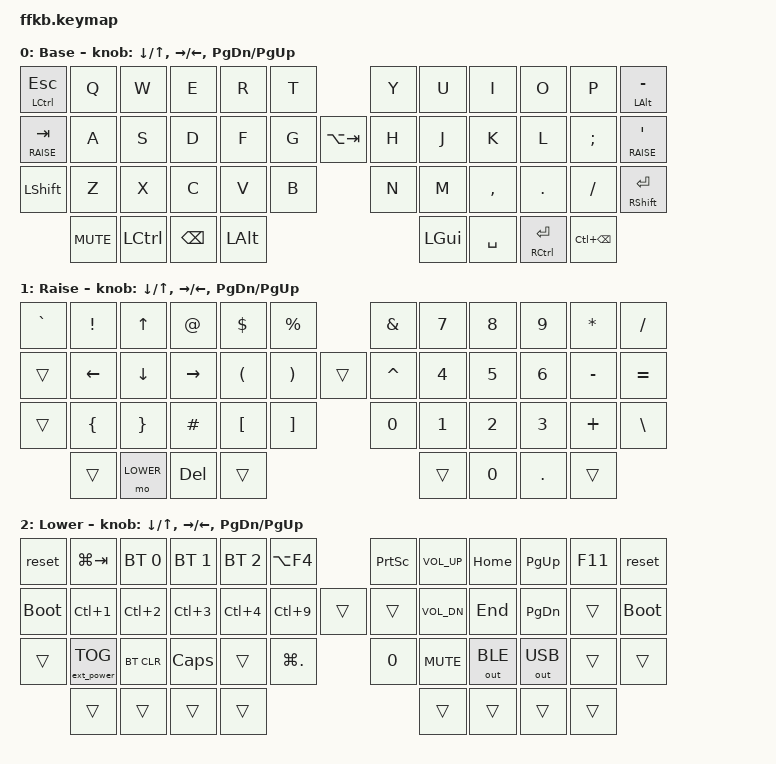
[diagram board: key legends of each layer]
#include <behaviors.dtsi>
#include <dt-bindings/zmk/keys.h>
#include <dt-bindings/zmk/rgb.h>
#include <dt-bindings/zmk/bt.h>
#include <dt-bindings/zmk/ext_power.h>
#include <dt-bindings/zmk/outputs.h>

#define BASE    0
#define RAISE   1
#define LOWER   2

&mt {
    retro-tap;
    flavor = "tap-preferred";
};
&lt {
    retro-tap;
    flavor = "tap-preferred";
};

&encoder_3 {
    resolution = <3>;
};


/ {

    sensors {
        compatible = "zmk,keymap-sensors";
        sensors = <&encoder_1 &encoder_2 &encoder_3>;
    };

    behaviors {
        mthp: hold_preferred_tap {
                        compatible = "zmk,behavior-hold-tap";
                        label = "HOLD_PREFERRED_TAP";            
                        #binding-cells = <2>;
                        tapping-term-ms = <200>;                  
                        flavor = "hold-preferred";      
                        bindings = <&kp>, <&kp>;
        };
    };

    keymap {
        compatible = "zmk,keymap";

        base_layer {
            label = "Base";

            sensor-bindings = <&inc_dec_kp DOWN UP &inc_dec_kp RIGHT LEFT &inc_dec_kp PG_DN PG_UP>;

            bindings = <
	&mt LCTRL ESC   &kp Q &kp W &kp E &kp R &kp T                                                 &kp Y &kp U  &kp I     &kp O   &kp P    &mt LALT MINUS
	&lt RAISE TAB  	&kp A &kp S &kp D &kp F &kp G                       &kp LA(TAB)               &kp H &kp J  &kp K     &kp L   &kp SEMI &lt RAISE SQT
	&kp LSHFT 		&kp Z &kp X &kp C &kp V &kp B                                                 &kp N &kp M  &kp COMMA &kp DOT &kp FSLH &mthp RSHFT ENTER
                    &kp C_MUTE  &kp LCTRL   &kp BSPC  &kp LALT                        &kp LGUI   &kp SPACE &mt RCTRL ENTER     &kp LC(BSPC)
            >;
        };

        raise_layer {
            label = "Raise";
            
            sensor-bindings = <&inc_dec_kp DOWN UP &inc_dec_kp RIGHT LEFT &inc_dec_kp PG_DN PG_UP>;
            
            bindings = <
	&kp GRAVE  &kp EXCL &kp UP   &kp AT    &kp DLLR &kp PRCNT                                                &kp AMPS  &kp N7 &kp N8    &kp N9   &kp STAR &kp FSLH
	&trans     &kp LEFT &kp DOWN &kp RIGHT &kp LPAR &kp RPAR                &trans                           &kp CARET &kp N4 &kp N5    &kp N6   &kp MINUS &kp EQUAL
	&trans 	   &kp LBRC &kp RBRC &kp POUND &kp LBKT &kp RBKT                                                 &kp N0    &kp N1 &kp N2    &kp N3   &kp PLUS &kp BSLH
                            &trans    &mo LOWER  &kp DEL   &trans                            &trans       &kp N0     &kp DOT      &trans
            >;
        };

        lower_layer {
            label = "Lower";
            
            sensor-bindings = <&inc_dec_kp DOWN UP &inc_dec_kp RIGHT LEFT &inc_dec_kp PG_DN PG_UP>;
            
            bindings = <
	&reset  	 &kp LG(TAB)          &bt BT_SEL 0  &bt BT_SEL 1     &bt BT_SEL 2   &kp LA(F4)                           &kp PSCRN  &kp C_VOL_UP &kp HOME     &kp PG_UP    &kp F11 &reset
	&bootloader  &kp LC(N1)           &kp LC(N2)    &kp LC(N3)       &kp LC(N4)     &kp LC(N9)         &trans            &trans     &kp C_VOL_DN &kp END      &kp PG_DN    &trans  &bootloader
	&trans	     &ext_power EP_TOG	  &bt BT_CLR    &kp CAPS         &trans         &kp LG(DOT)                          &kp N0     &kp C_MUTE   &out OUT_BLE &out OUT_USB &trans  &trans
                                                  &trans           &trans           &trans      &trans          &trans   &trans     &trans       &trans
            >;
        };




    };
};
